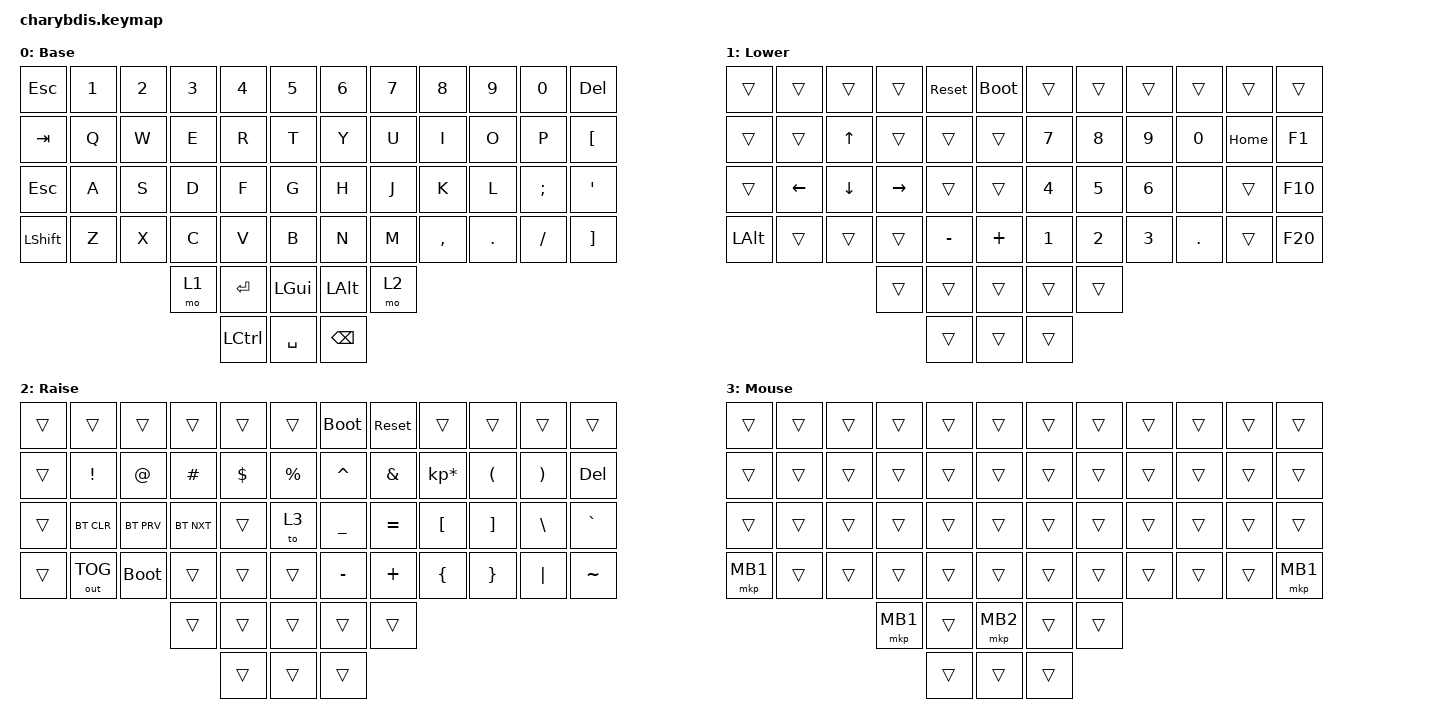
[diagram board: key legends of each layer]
#include <behaviors.dtsi>
#include <dt-bindings/zmk/keys.h>
#include <dt-bindings/zmk/pointing.h>

/ {
    trackball_listener {
        compatible = "zmk,input-listener";
        device = <&vtrackball>;
    };

    keymap {
        compatible = "zmk,keymap";

        Base {
            display-name = "Base";
            display-name = "Base";
            bindings = <
            // ╭─────────────┬─────────────┬─────────────┬─────────────┬─────────────┬─────────────╮   ╭─────────────┬─────────────┬─────────────┬─────────────┬─────────────┬─────────────╮
                   &kp ESC       &kp N1         &kp N2        &kp N3        &kp N4        &kp N5            &kp N6        &kp N7        &kp N8        &kp N9        &kp N0       &kp DEL
            // ├─────────────┼─────────────┼─────────────┼─────────────┼─────────────┼─────────────┤   ├─────────────┼─────────────┼─────────────┼─────────────┼─────────────┼─────────────┤
                   &kp TAB       &kp Q          &kp W         &kp E         &kp R         &kp T             &kp Y         &kp U         &kp I         &kp O         &kp P      &kp LEFT_BRACKET
            // ├─────────────┼─────────────┼─────────────┼─────────────┼─────────────┼─────────────┤   ├─────────────┼─────────────┼─────────────┼─────────────┼─────────────┼─────────────┤
                   &kp ESC       &kp A          &kp S         &kp D         &kp F         &kp G             &kp H         &kp J         &kp K         &kp L       &kp SEMI      &kp APOS
            // ├─────────────┼─────────────┼─────────────┼─────────────┼─────────────┼─────────────┤   ├─────────────┼─────────────┼─────────────┼─────────────┼─────────────┼─────────────┤
                  &kp LSHFT      &kp Z          &kp X         &kp C         &kp V         &kp B             &kp N         &kp M      &kp COMMA      &kp DOT       &kp FSLH     &kp RIGHT_BRACKET
            // ╰─────────────┴─────────────┼─────────────┼─────────────┼─────────────┼─────────────┤   ├─────────────┼─────────────┼─────────────┼─────────────┼─────────────┴─────────────╯
                                                              &mo 1        &kp RET     &kp LEFT_GUI      &kp LEFT_ALT     &mo 2 
            //                                           ╰─────────────┤─────────────┤─────────────┤   ├─────────────┼─────────────╯
                                                                           &kp LCTRL    &kp SPACE         &kp BSPC
            //                                                         ╰─────────────┴─────────────╯   ╰─────────────╯
            >;
        };

        Lower {
            display-name = "Lower";
            display-name = "Lower";
            bindings = <
            // ╭─────────────┬─────────────┬─────────────┬─────────────┬─────────────┬─────────────╮   ╭─────────────┬─────────────┬─────────────┬─────────────┬─────────────┬─────────────╮
                   &trans         &trans       &trans         &trans      &sys_reset   &bootloader         &trans       &trans         &trans        &trans        &trans        &trans
            // ├─────────────┼─────────────┼─────────────┼─────────────┼─────────────┼─────────────┤   ├─────────────┼─────────────┼─────────────┼─────────────┼─────────────┼─────────────┤
                   &trans         &trans       &kp UP         &trans       &trans         &trans           &kp N7       &kp N8         &kp N9        &kp N0        &kp HOME      &kp F1
            // ├─────────────┼─────────────┼─────────────┼─────────────┼─────────────┼─────────────┤   ├─────────────┼─────────────┼─────────────┼─────────────┼─────────────┼─────────────┤
                   &trans       &kp LEFT       &kp DOWN     &kp RIGHT      &trans         &trans           &kp N4       &kp N5         &kp N6        &none         &trans        &kp F10
            // ├─────────────┼─────────────┼─────────────┼─────────────┼─────────────┼─────────────┤   ├─────────────┼─────────────┼─────────────┼─────────────┼─────────────┼─────────────┤
                 &kp LEFT_ALT    &trans        &trans         &trans      &kp MINUS      &kp PLUS          &kp N1       &kp N2         &kp N3        &kp DOT       &trans        &kp F20
            // ╰─────────────┴─────────────┼─────────────┼─────────────┼─────────────┼─────────────┤   ├─────────────┼─────────────┼─────────────┼─────────────┼─────────────┴─────────────╯
                                                              &trans       &trans        &trans            &trans        &trans    
            //                                           ╰─────────────┤─────────────┤─────────────┤   ├─────────────┼─────────────╯
                                                                           &trans        &trans            &trans
            //                                                         ╰─────────────┴─────────────╯   ╰─────────────╯
            >;
        };

        Raise {
            display-name = "Raise";
            display-name = "Raise";
            bindings = <
            // ╭─────────────┬─────────────┬─────────────┬─────────────┬─────────────┬─────────────╮   ╭─────────────┬─────────────┬─────────────┬─────────────┬─────────────┬─────────────╮
                   &trans        &trans         &trans       &trans         &trans       &trans          &bootloader    &sys_reset     &trans        &trans        &trans        &trans
            // ├─────────────┼─────────────┼─────────────┼─────────────┼─────────────┼─────────────┤   ├─────────────┼─────────────┼─────────────┼─────────────┼─────────────┼─────────────┤
                   &trans        &kp EXCL       &kp AT      &kp HASH       &kp DLLR     &kp PRCNT         &kp CARET      &kp AMPS    &kp KP_MULTIPLY &kp LPAR      &kp RPAR      &kp DEL
            // ├─────────────┼─────────────┼─────────────┼─────────────┼─────────────┼─────────────┤   ├─────────────┼─────────────┼─────────────┼─────────────┼─────────────┼─────────────┤
                   &trans      &bt BT_CLR    &bt BT_PRV    &bt BT_NXT       &trans        &to 3           &kp UNDER     &kp EQUAL     &kp LBKT      &kp RBKT      &kp BSLH      &kp GRAVE
            // ├─────────────┼─────────────┼─────────────┼─────────────┼─────────────┼─────────────┤   ├─────────────┼─────────────┼─────────────┼─────────────┼─────────────┼─────────────┤
                   &trans     &out OUT_TOG   &bootloader     &trans         &trans       &trans           &kp MINUS      &kp PLUS     &kp LBRC      &kp RBRC      &kp PIPE      &kp TILDE
            // ╰─────────────┴─────────────┼─────────────┼─────────────┼─────────────┼─────────────┤   ├─────────────┼─────────────┼─────────────┼─────────────┼─────────────┴─────────────╯
                                                              &trans        &trans       &trans            &trans        &trans    
            //                                           ╰─────────────┤─────────────┤─────────────┤   ├─────────────┼─────────────╯
                                                                            &trans       &trans            &trans
            //                                                         ╰─────────────┴─────────────╯   ╰─────────────╯
            >;
        };

        Mouse {
            display-name = "Mouse";
            bindings = <
            // ╭─────────────┬─────────────┬─────────────┬─────────────┬─────────────┬─────────────╮   ╭─────────────┬─────────────┬─────────────┬─────────────┬─────────────┬─────────────╮
                   &trans         &trans       &trans         &trans       &trans         &trans           &trans       &trans         &trans        &trans        &trans        &trans
            // ├─────────────┼─────────────┼─────────────┼─────────────┼─────────────┼─────────────┤   ├─────────────┼─────────────┼─────────────┼─────────────┼─────────────┼─────────────┤
                   &trans         &trans       &trans         &trans       &trans         &trans           &trans       &trans         &trans        &trans        &trans        &trans
            // ├─────────────┼─────────────┼─────────────┼─────────────┼─────────────┼─────────────┤   ├─────────────┼─────────────┼─────────────┼─────────────┼─────────────┼─────────────┤
                   &trans         &trans       &trans         &trans       &trans         &trans           &trans       &trans         &trans        &trans        &trans        &trans
            // ├─────────────┼─────────────┼─────────────┼─────────────┼─────────────┼─────────────┤   ├─────────────┼─────────────┼─────────────┼─────────────┼─────────────┼─────────────┤
                  &mkp MB1       &trans       &trans         &trans       &trans         &trans           &trans       &trans         &trans        &trans        &trans       &mkp MB1
            // ╰─────────────┴─────────────┼─────────────┼─────────────┼─────────────┼─────────────┤   ├─────────────┼─────────────┼─────────────┼─────────────┼─────────────┴─────────────╯
                                                            &mkp MB1      &trans       &mkp MB2           &trans        &trans    
            //                                           ╰─────────────┤─────────────┤─────────────┤   ├─────────────┼─────────────╯
                                                                            &trans        &trans            &trans
            //                                                         ╰─────────────┴─────────────╯   ╰─────────────╯
            >;
        };
    };
};
